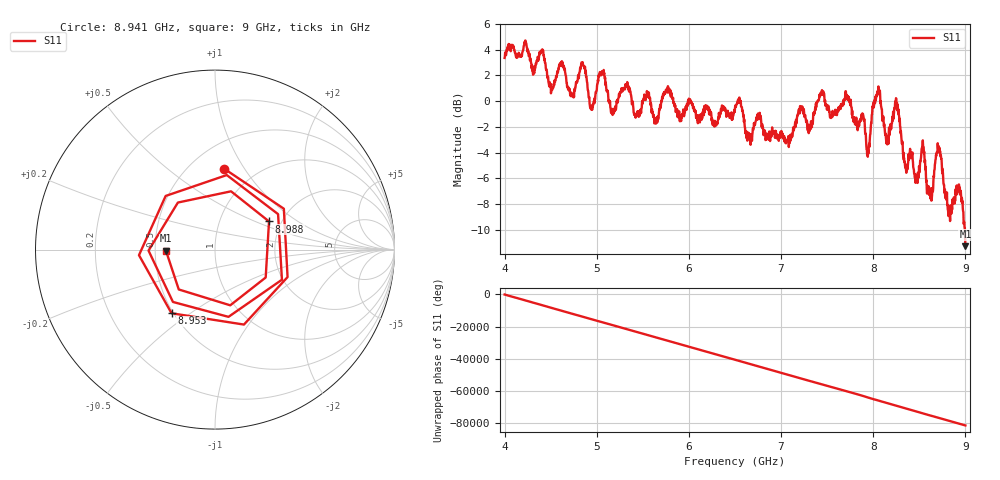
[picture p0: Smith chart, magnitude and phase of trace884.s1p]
! Created with skrf 1.8.0 (http://scikit-rf.org).
# Hz S RI R 50.0
!freq ReS11 ImS11
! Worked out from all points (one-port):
!   1601 points, 4 GHz to 9 GHz, reference 50 ohm
!   lowest |S11| = -11.3 dB at 9 GHz (marker M1), VSWR 1.75, Z = 28.5 - j0.398 ohm
!   |S11| at or under -10 dB: 8.994751 GHz to end of sweep
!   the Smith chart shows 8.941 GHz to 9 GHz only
!   S11 on the Smith chart (normalised r, x): 8.941 GHz: 0.72, +0.82; 8.953 GHz: 0.49, -0.43; 8.988 GHz: 1.72, +0.61; 9 GHz: 0.57, -0.01
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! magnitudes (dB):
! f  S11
! 4 GHz  3.4
! 4.403 GHz  3.9
! 4.506 GHz  0.8
! 4.625 GHz  3.1
! 4.731 GHz  0.5
! 4.856 GHz  2.8
! 4.947 GHz  -0.4
! 5.05 GHz  2.3
! 5.172 GHz  -1.1
! 5.25 GHz  0.7
! 5.875 GHz  -1.2
! 6.5 GHz  -0.5
! 7.125 GHz  -2.6
! 7.441 GHz  0.7
! 7.75 GHz  -0.3
! 7.941 GHz  -4.3
! 8.047 GHz  0.6
! 8.15 GHz  -3.3
! 8.253 GHz  -0.2
! 8.375 GHz  -5.1
! 8.538 GHz  -3.0
! 8.622 GHz  -7.2
! 8.709 GHz  -3.8
! 8.828 GHz  -8.9
! 8.941 GHz  -6.8
! 8.953 GHz  -7.3
! 8.988 GHz  -9.4
! 9 GHz  -11.3
